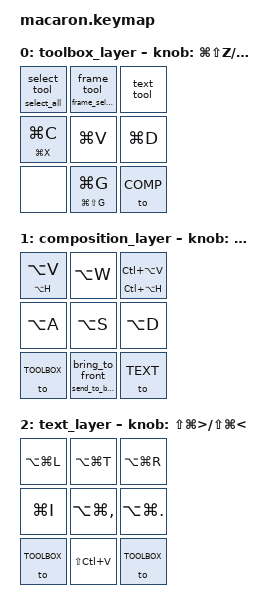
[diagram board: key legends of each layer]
#include <behaviors.dtsi>
#include <dt-bindings/zmk/keys.h>
#include <dt-bindings/zmk/bt.h>

#define TOOLBOX 0
#define COMP 1
#define TEXT 2


/{
    macros {
        select_tool: select_tool {
            compatible = "zmk,behavior-macro";
            #binding-cells = <0>;
            bindings
                = <&kp ESCAPE &kp V>;
        };

        select_all: select_all {
            compatible = "zmk,behavior-macro";
            #binding-cells = <0>;
            bindings
                = <&kp LG(A)>; 
        };

        frame_tool: frame_tool {
            compatible = "zmk,behavior-macro";
            #binding-cells = <0>;
            bindings
                = <&kp ESCAPE &kp F>;
        };

        frame_selection: frame_selection {
            compatible = "zmk,behavior-macro";
            #binding-cells = <0>;
            bindings
                = <&kp LA(LG(G))>;
        };
        
        text_tool: text_tool {
            compatible = "zmk,behavior-macro";
            #binding-cells = <0>;
            bindings
                = <&kp ESCAPE &kp T>;
        };

        bring_to_front: bring_to_front {
            compatible = "zmk,behavior-macro";
            #binding-cells = <0>;
            bindings
                = <&kp RIGHT_BRACKET>; 
        };

        send_to_back: send_to_back {
            compatible = "zmk,behavior-macro";
            #binding-cells = <0>;
            bindings
                = <&kp LEFT_BRACKET>; 
        };  
    };

    behaviors {
        frame_behavior: frame_behavior {
            compatible = "zmk,behavior-hold-tap";
            #binding-cells = <2>;
            flavor = "tap-preferred";
            tapping-term-ms = <400>;
            bindings = <&frame_selection>, <&frame_tool>;
        };

        select_behavior: select_behavior {
            compatible = "zmk,behavior-hold-tap";
            #binding-cells = <2>;
            flavor = "tap-preferred";
            tapping-term-ms = <400>;
            bindings = <&select_all>, <&select_tool>; 
        };

        arrange_behavior: arrange_behavior {
            compatible = "zmk,behavior-hold-tap";
            #binding-cells = <2>;
            flavor = "tap-preferred";
            tapping-term-ms = <400>;
            bindings = <&send_to_back>, <&bring_to_front>; 
        };
    };

    keymap {
        compatible = "zmk,keymap";

        toolbox_layer {
            bindings = <
                &select_behavior 0 0        &frame_behavior 0 0     &text_tool
                &mt LG(X) LG(C)             &kp LG(V)               &kp LG(D)
                &none                       &mt LG(LS(G)) LG(G)     &to COMP
            >;

            sensor-bindings = <&inc_dec_kp LG(LS(Z)) LG(Z)>;
        };

        composition_layer {
            bindings = <
                &mt LA(H) LA(V)             &kp LA(W)               &mt LC(LA(H)) LC(LA(V))
                &kp LA(A)                   &kp LA(S)               &kp LA(D)
                &to TOOLBOX                 &arrange_behavior 0 0   &to TEXT
            >;

            sensor-bindings = <&inc_dec_kp LG(RIGHT_BRACKET) LG(LEFT_BRACKET)>;
        };

        text_layer {
            bindings = <
                &kp LA(LG(L))               &kp LA(LG(T))               &kp LA(LG(R))
                &kp LG(I)                   &kp LA(LG(COMMA))           &kp LA(LG(PERIOD))
                &to TOOLBOX                 &kp LS(LC(V))               &to TOOLBOX
            >;

            sensor-bindings = <&inc_dec_kp LS(LG(GT)) LS(LG(LT))>;
        };
    };
};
